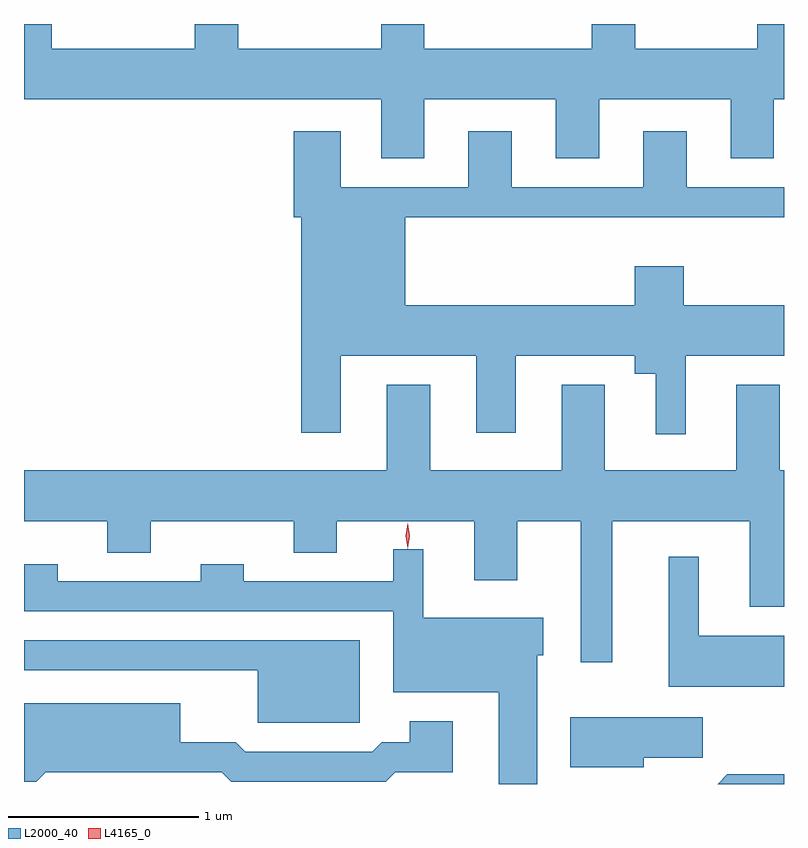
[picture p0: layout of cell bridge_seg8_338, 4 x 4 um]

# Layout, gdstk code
import gdstk
lib = gdstk.Library(unit=1e-6, precision=1e-09)
def P(c, l, *ps):  # polygons
    for p in ps: c.add(gdstk.Polygon(p, *l))
L2000_40 = (2000, 40)
L4165_0 = (4165, 0)

bridge_seg8_338 = lib.new_cell('bridge_seg8_338')
P(bridge_seg8_338, L2000_40, [(708.109,1920.776),(708.801,1920.776),(708.801,1920.466),(709.029,1920.466),(709.029,1920.776),(709.721,1920.776),(709.721,1920.466),(709.949,1920.466),(709.949,1920.776),(710.002,1920.776),(710.002,1921.173),(709.861,1921.173),(709.861,1921.044),(709.219,1921.044),(709.219,1921.173),(708.991,1921.173),(708.991,1921.044),(708.109,1921.044),(708.109,1921.173),(707.881,1921.173),(707.881,1921.044),(707.129,1921.044),(707.129,1921.173),(706.901,1921.173),(706.901,1921.044),(706.149,1921.044),(706.149,1921.173),(706.002,1921.173),(706.002,1920.776),(707.881,1920.776),(707.881,1920.466),(708.109,1920.466)],
  [(709.484,1919.426),(710.002,1919.426),(710.002,1919.694),(709.474,1919.694),(709.474,1919.899),(709.216,1919.899),(709.216,1919.694),(708.009,1919.694),(708.009,1920.156),(710.002,1920.156),(710.002,1920.314),(709.489,1920.314),(709.489,1920.609),(709.261,1920.609),(709.261,1920.314),(708.569,1920.314),(708.569,1920.609),(708.341,1920.609),(708.341,1920.314),(707.669,1920.314),(707.669,1920.609),(707.421,1920.609),(707.421,1920.156),(707.461,1920.156),(707.461,1919.021),(707.669,1919.021),(707.669,1919.426),(708.381,1919.426),(708.381,1919.021),(708.589,1919.021),(708.589,1919.426),(709.216,1919.426),(709.216,1919.331),(709.326,1919.331),(709.326,1919.013),(709.484,1919.013)],
  [(709.099,1918.556),(709.821,1918.556),(709.821,1918.106),(710.002,1918.106),(710.002,1918.824),(709.979,1918.824),(709.979,1919.274),(709.751,1919.274),(709.751,1918.824),(709.059,1918.824),(709.059,1919.274),(708.831,1919.274),(708.831,1918.824),(708.139,1918.824),(708.139,1919.274),(707.911,1919.274),(707.911,1918.824),(706.002,1918.824),(706.002,1918.556),(706.441,1918.556),(706.441,1918.391),(706.669,1918.391),(706.669,1918.556),(707.421,1918.556),(707.421,1918.391),(707.649,1918.391),(707.649,1918.556),(708.371,1918.556),(708.371,1918.246),(708.599,1918.246),(708.599,1918.556),(708.931,1918.556),(708.931,1917.813),(709.099,1917.813)],
  [(708.704,1917.851),(708.734,1917.851),(708.734,1918.049),(708.104,1918.049),(708.104,1918.408),(707.946,1918.408),(707.946,1918.239),(707.159,1918.239),(707.159,1918.329),(706.931,1918.329),(706.931,1918.239),(706.179,1918.239),(706.179,1918.329),(706.002,1918.329),(706.002,1918.081),(707.946,1918.081),(707.946,1917.656),(708.501,1917.656),(708.501,1917.173),(708.704,1917.173)],
  [(710.002,1917.954),(709.554,1917.954),(709.554,1918.368),(709.396,1918.368),(709.396,1917.686),(710.002,1917.686)],
  [(707.769,1917.929),(706.002,1917.929),(706.002,1917.771),(707.231,1917.771),(707.231,1917.496),(707.769,1917.496)],
  [(706.117,1917.236),(707.044,1917.236),(707.094,1917.186),(707.907,1917.186),(707.957,1917.236),(708.259,1917.236),(708.259,1917.504),(708.031,1917.504),(708.031,1917.394),(707.884,1917.394),(707.834,1917.344),(707.167,1917.344),(707.117,1917.394),(706.824,1917.394),(706.824,1917.599),(706.002,1917.599),(706.002,1917.186),(706.067,1917.186)],
  [(709.264,1917.311),(709.574,1917.311),(709.574,1917.524),(708.876,1917.524),(708.876,1917.261),(709.264,1917.261)],
  [(710.002,1917.224),(709.704,1917.224),(709.653,1917.173),(710.002,1917.173)])
P(bridge_seg8_338, L4165_0, [(708.022,1918.412),(708.022,1918.413),(708.012,1918.479),(708.022,1918.545),(708.022,1918.545),(708.022,1918.545),(708.032,1918.479),(708.023,1918.413)])

lib.write_gds('bridge_seg8_338.gds')
